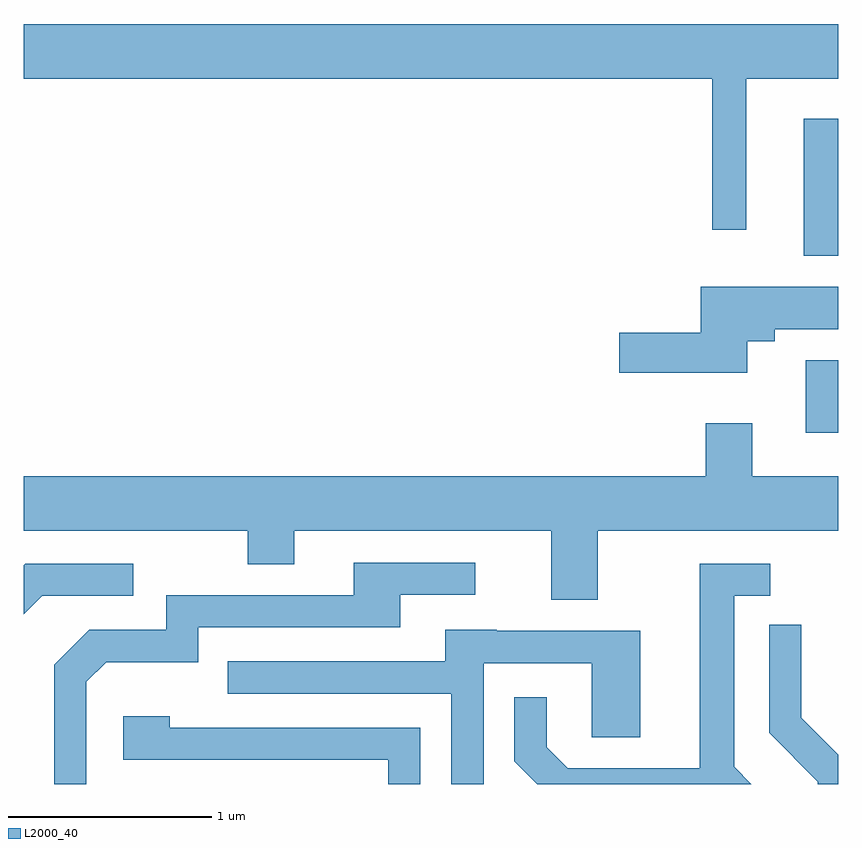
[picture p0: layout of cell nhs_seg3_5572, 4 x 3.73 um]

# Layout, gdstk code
import gdstk
lib = gdstk.Library(unit=1e-6, precision=1e-09)
def R(c, l, rs):  # rectangles x0, y0, x1, y1
    for r in rs: c.add(gdstk.rectangle(r[:2], r[2:], *l))
def P(c, l, *ps):  # polygons
    for p in ps: c.add(gdstk.Polygon(p, *l))
L2000_40 = (2000, 40)

nhs_seg3_5572 = lib.new_cell('nhs_seg3_5572')
R(nhs_seg3_5572, L2000_40, [(353.451,1117.616,353.611,1117.974), (353.441,1118.486,353.611,1119.159)])
P(nhs_seg3_5572, L2000_40, [(353.159,1119.356),(353.611,1119.356),(353.611,1119.624),(349.611,1119.624),(349.611,1119.356),(352.991,1119.356),(352.991,1118.613),(353.159,1118.613)],
  [(353.164,1118.066),(353.299,1118.066),(353.299,1118.126),(353.611,1118.126),(353.611,1118.334),(352.936,1118.334),(352.936,1118.109),(352.536,1118.109),(352.536,1117.911),(353.164,1117.911)],
  [(352.429,1117.136),(353.611,1117.136),(353.611,1117.404),(353.189,1117.404),(353.189,1117.664),(352.961,1117.664),(352.961,1117.404),(349.611,1117.404),(349.611,1117.136),(350.711,1117.136),(350.711,1116.971),(350.939,1116.971),(350.939,1117.136),(352.201,1117.136),(352.201,1116.796),(352.429,1116.796)],
  [(349.919,1116.394),(350.017,1116.491),(350.469,1116.491),(350.469,1116.661),(351.459,1116.661),(351.459,1116.821),(351.828,1116.821),(351.828,1116.979),(351.231,1116.979),(351.231,1116.819),(350.311,1116.819),(350.311,1116.649),(349.934,1116.649),(349.761,1116.477),(349.761,1115.892),(349.919,1115.892)],
  [(353.099,1115.977),(353.099,1116.816),(353.278,1116.816),(353.278,1116.974),(352.931,1116.974),(352.931,1115.969),(352.282,1115.969),(352.179,1116.072),(352.179,1116.318),(352.021,1116.318),(352.021,1116.004),(352.133,1115.892),(353.184,1115.892)],
  [(349.702,1116.816),(350.148,1116.816),(350.148,1116.974),(349.619,1116.974),(349.611,1116.966),(349.611,1116.726)],
  [(353.611,1116.035),(353.429,1116.217),(353.429,1116.673),(353.271,1116.673),(353.271,1116.144),(353.511,1115.904),(353.511,1115.892),(353.611,1115.892)],
  [(351.869,1116.486),(352.401,1116.486),(352.401,1116.121),(352.639,1116.121),(352.639,1116.644),(351.935,1116.644),(351.935,1116.649),(351.681,1116.649),(351.681,1116.494),(350.613,1116.494),(350.613,1116.336),(351.711,1116.336),(351.711,1115.892),(351.869,1115.892)],
  [(351.559,1116.169),(350.329,1116.169),(350.329,1116.224),(350.101,1116.224),(350.101,1116.011),(351.401,1116.011),(351.401,1115.892),(351.559,1115.892)])

lib.write_gds('nhs_seg3_5572.gds')
